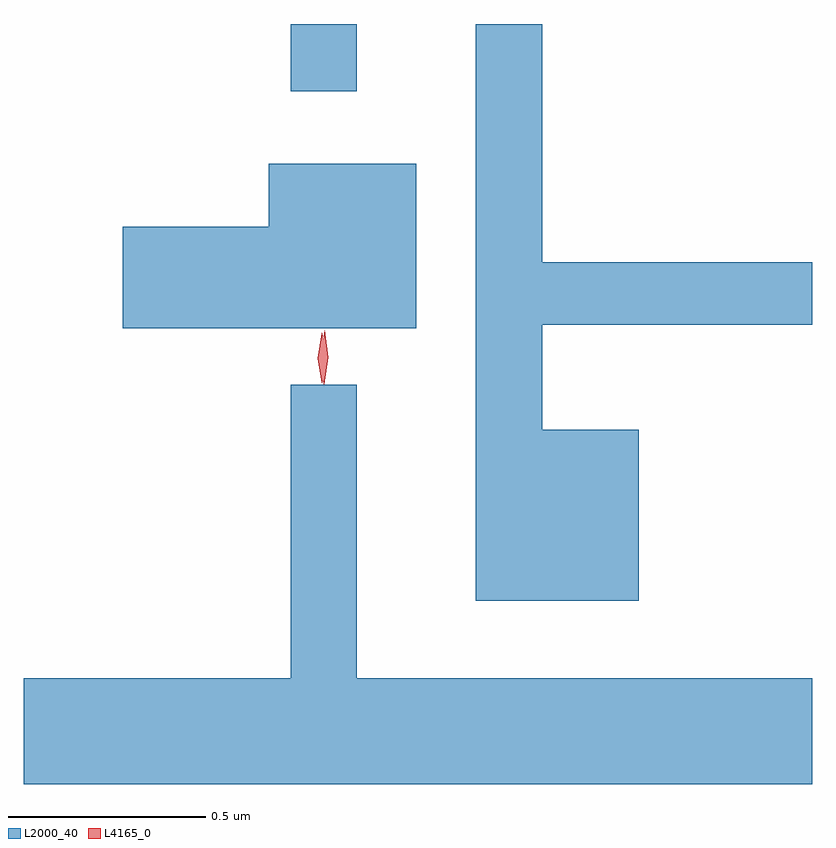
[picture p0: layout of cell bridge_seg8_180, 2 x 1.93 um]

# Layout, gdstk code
import gdstk
lib = gdstk.Library(unit=1e-6, precision=1e-09)
def R(c, l, rs):  # rectangles x0, y0, x1, y1
    for r in rs: c.add(gdstk.rectangle(r[:2], r[2:], *l))
def P(c, l, *ps):  # polygons
    for p in ps: c.add(gdstk.Polygon(p, *l))
L2000_40 = (2000, 40)
L4165_0 = (4165, 0)

bridge_seg8_180 = lib.new_cell('bridge_seg8_180')
R(bridge_seg8_180, L2000_40, [(1310.181,1938.073,1310.349,1938.243)])
P(bridge_seg8_180, L2000_40, [(1311.064,1937.214),(1310.819,1937.214),(1310.819,1937.481),(1311.504,1937.481),(1311.504,1937.639),(1310.819,1937.639),(1310.819,1938.243),(1310.651,1938.243),(1310.651,1936.781),(1311.064,1936.781)],
  [(1310.499,1937.889),(1310.126,1937.889),(1310.126,1937.729),(1309.756,1937.729),(1309.756,1937.471),(1310.499,1937.471)],
  [(1311.504,1936.584),(1310.349,1936.584),(1310.349,1937.328),(1310.181,1937.328),(1310.181,1936.584),(1309.504,1936.584),(1309.504,1936.316),(1311.504,1936.316)])
P(bridge_seg8_180, L4165_0, [(1310.265,1937.33),(1310.257,1937.398),(1310.267,1937.466),(1310.267,1937.466),(1310.268,1937.466),(1310.277,1937.398),(1310.266,1937.33),(1310.266,1937.33)],
  [(1310.26,1937.333),(1310.25,1937.396),(1310.26,1937.459),(1310.26,1937.46),(1310.261,1937.459),(1310.27,1937.396),(1310.261,1937.333),(1310.261,1937.333)])

lib.write_gds('bridge_seg8_180.gds')
